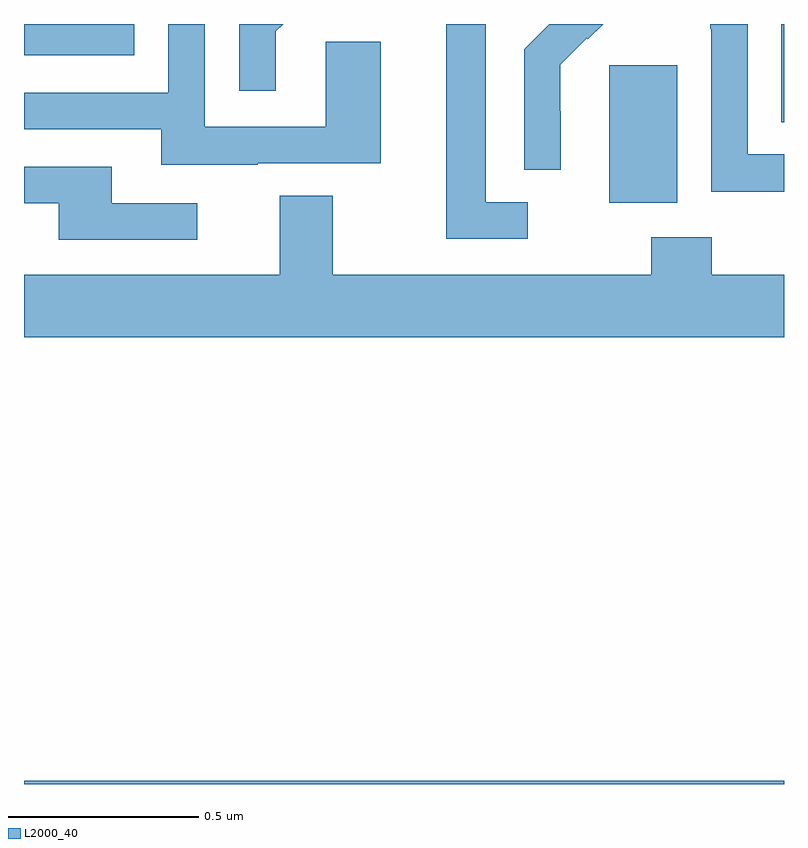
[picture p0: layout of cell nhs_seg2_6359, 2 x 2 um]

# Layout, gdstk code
import gdstk
lib = gdstk.Library(unit=1e-6, precision=1e-09)
def R(c, l, rs):  # rectangles x0, y0, x1, y1
    for r in rs: c.add(gdstk.rectangle(r[:2], r[2:], *l))
def P(c, l, *ps):  # polygons
    for p in ps: c.add(gdstk.Polygon(p, *l))
L2000_40 = (2000, 40)

nhs_seg2_6359 = lib.new_cell('nhs_seg2_6359')
R(nhs_seg2_6359, L2000_40, [(190,639.8,192,639.808), (191.54,641.33,191.719,641.691), (191.993,641.542,192,641.8), (190,641.718,190.29,641.8)])
P(nhs_seg2_6359, L2000_40, [(191.412,641.57),(191.411,641.57),(191.411,641.693),(191.481,641.763),(191.484,641.76),(191.524,641.8),(191.382,641.8),(191.316,641.734),(191.316,641.416),(191.412,641.416)],
  [(192,641.457),(191.904,641.457),(191.904,641.8),(191.806,641.8),(191.806,641.788),(191.808,641.788),(191.808,641.359),(192,641.359)],
  [(190.663,641.781),(190.682,641.8),(190.566,641.8),(190.566,641.625),(190.663,641.625)],
  [(191.326,641.331),(191.215,641.331),(191.215,641.8),(191.111,641.8),(191.111,641.235),(191.326,641.235)],
  [(190.615,641.433),(190.939,641.433),(190.939,641.753),(190.794,641.753),(190.794,641.529),(190.476,641.529),(190.476,641.8),(190.38,641.8),(190.38,641.619),(190,641.619),(190,641.523),(190.361,641.523),(190.361,641.429),(190.615,641.429)],
  [(190.456,641.328),(190.231,641.328),(190.231,641.424),(190,641.424),(190,641.328),(190.091,641.328),(190.091,641.232),(190.456,641.232)],
  [(192,641.14),(191.81,641.14),(191.81,641.239),(191.65,641.239),(191.65,641.14),(190.813,641.14),(190.813,641.348),(190.673,641.348),(190.673,641.14),(190,641.14),(190,640.976),(192,640.976)])

lib.write_gds('nhs_seg2_6359.gds')
